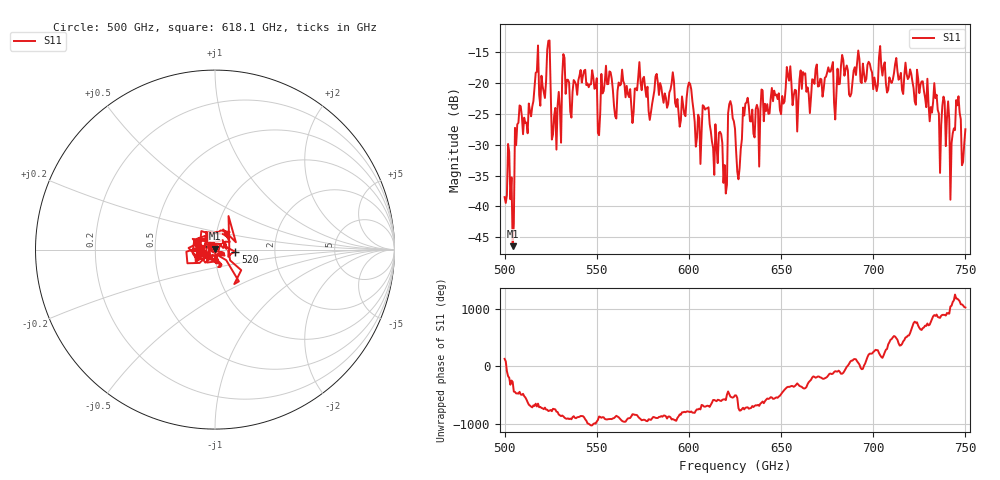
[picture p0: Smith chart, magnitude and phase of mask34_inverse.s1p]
!Created with skrf (http://scikit-rf.org).
# GHz S MA R 50.0
!freq magS11 angS11
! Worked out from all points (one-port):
!   401 points, 500 GHz to 750 GHz, reference 50 ohm
!   lowest |S11| = -46.5 dB at 504.4 GHz (marker M1), VSWR 1.01, Z = 50 + j0.475 ohm
!   |S11| at or under -10 dB: start of sweep to end of sweep
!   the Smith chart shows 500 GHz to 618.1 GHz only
!   S11 on the Smith chart (normalised r, x): 500 GHz: 0.99, +0.02; 520 GHz: 1.26, -0.03; 618.1 GHz: 0.95, +0.04
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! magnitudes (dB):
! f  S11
! 500 GHz  -38.5
! 504.4 GHz  -46.5
! 508.1 GHz  -23.6
! 520 GHz  -18.8
! 523.8 GHz  -13.2
! 526.9 GHz  -25.3
! 531.2 GHz  -18.9
! 542.5 GHz  -18.8
! 551.9 GHz  -24.9
! 553.8 GHz  -21.3
! 562.5 GHz  -20.4
! 593.8 GHz  -22.6
! 600.6 GHz  -20.1
! 605 GHz  -25.1
! 609.4 GHz  -24.1
! 618.1 GHz  -29.7
! 620 GHz  -37.9
! 622.5 GHz  -22.9
! 625 GHz  -27.4
! 626.9 GHz  -35.6
! 630.6 GHz  -23.3
! 636.9 GHz  -23.5
! 656.2 GHz  -23.6
! 687.5 GHz  -22.2
! 718.8 GHz  -19.4
! 743.1 GHz  -28.2
! 746.2 GHz  -22.2
! 750 GHz  -27.5
